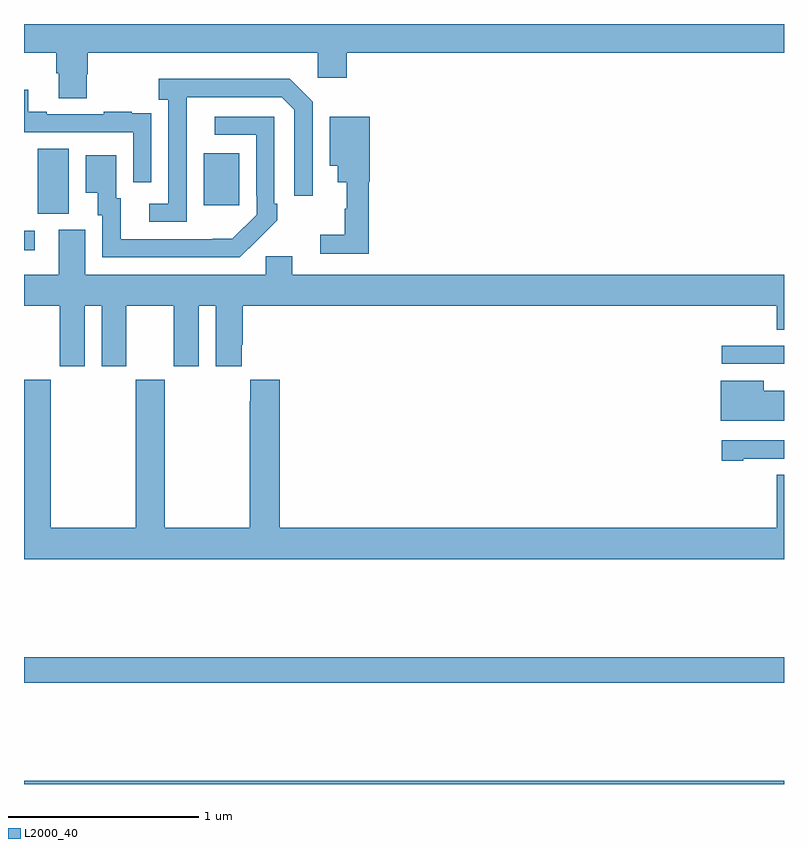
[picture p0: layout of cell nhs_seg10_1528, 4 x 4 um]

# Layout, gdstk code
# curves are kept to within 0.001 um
import gdstk
lib = gdstk.Library(unit=1e-6, precision=1e-09)
def R(c, l, rs):  # rectangles x0, y0, x1, y1
    for r in rs: c.add(gdstk.rectangle(r[:2], r[2:], *l))
def P(c, l, *ps):  # polygons
    for p in ps: c.add(gdstk.Polygon(p, *l))
L2000_40 = (2000, 40)

nhs_seg10_1528 = lib.new_cell('nhs_seg10_1528')
R(nhs_seg10_1528, L2000_40, [(191,1264.5,195,1264.516), (191,1265.032,195,1265.168), (194.673,1266.711,195,1266.807), (191,1267.308,191.056,1267.413), (191.072,1267.501,191.236,1267.844), (191.945,1267.545,192.133,1267.819)])
P(nhs_seg10_1528, L2000_40, [(191.331,1268.235),(191.336,1268.235),(191.336,1268.348),(192.546,1268.348),(192.546,1268.217),(192.698,1268.217),(192.698,1268.348),(195,1268.348),(195,1268.5),(191,1268.5),(191,1268.348),(191.171,1268.348),(191.171,1268.242),(191.183,1268.242),(191.183,1268.11),(191.331,1268.11)],
  [(191.856,1267.915),(191.857,1268.115),(192.357,1268.115),(192.423,1268.049),(192.423,1267.596),(192.519,1267.596),(192.519,1268.091),(192.398,1268.212),(191.709,1268.212),(191.709,1268.102),(191.76,1268.102),(191.76,1267.554),(191.658,1267.554),(191.658,1267.458),(191.856,1267.458)],
  [(191.67,1267.922),(191.669,1267.922),(191.669,1268.031),(191.567,1268.031),(191.567,1268.038),(191.419,1268.038),(191.419,1268.025),(191.119,1268.025),(191.119,1268.038),(191.023,1268.038),(191.023,1268.155),(191,1268.155),(191,1267.929),(191.574,1267.929),(191.574,1267.668),(191.67,1267.668)],
  [(192.227,1267.363),(192.228,1267.362),(192.333,1267.467),(192.333,1267.555),(192.318,1267.555),(192.318,1268.013),(192.003,1268.013),(192.003,1267.917),(192.222,1267.917),(192.222,1267.597),(192.225,1267.597),(192.225,1267.497),(192.097,1267.369),(191.509,1267.368),(191.509,1267.584),(191.485,1267.584),(191.485,1267.81),(191.324,1267.81),(191.324,1267.613),(191.387,1267.613),(191.387,1267.494),(191.412,1267.494),(191.412,1267.272),(192.136,1267.272)],
  [(192.815,1267.671),(192.821,1267.671),(192.821,1268.011),(192.608,1268.011),(192.608,1267.754),(192.65,1267.754),(192.65,1267.667),(192.698,1267.667),(192.698,1267.527),(192.687,1267.527),(192.687,1267.391),(192.558,1267.391),(192.558,1267.29),(192.815,1267.29)],
  [(191.32,1267.016),(191.408,1267.016),(191.408,1266.699),(191.539,1266.699),(191.539,1267.016),(191.789,1267.016),(191.789,1266.699),(191.92,1266.699),(191.92,1267.016),(192.008,1267.016),(192.008,1266.699),(192.145,1266.699),(192.145,1266.811),(192.152,1266.811),(192.152,1267.016),(194.963,1267.016),(194.963,1266.892),(195,1266.892),(195,1267.18),(192.412,1267.18),(192.412,1267.278),(192.273,1267.278),(192.273,1267.18),(191.323,1267.18),(191.323,1267.416),(191.183,1267.416),(191.183,1267.18),(191,1267.18),(191,1267.016),(191.189,1267.016),(191.189,1266.699),(191.32,1266.699)],
  [(195,1266.128),(194.963,1266.128),(194.963,1265.848),(192.347,1265.848),(192.347,1266.628),(192.191,1266.628),(192.191,1266.515),(192.187,1266.515),(192.187,1265.848),(191.742,1265.848),(191.742,1266.628),(191.587,1266.628),(191.587,1265.848),(191.142,1265.848),(191.142,1266.628),(191,1266.628),(191,1265.684),(195,1265.684)],
  [(195,1266.571),(194.893,1266.571),(194.893,1266.622),(194.666,1266.622),(194.666,1266.413),(195,1266.413)],
  [(194.785,1266.213),(195,1266.213),(195,1266.309),(194.673,1266.309),(194.673,1266.201),(194.785,1266.201)])

lib.write_gds('nhs_seg10_1528.gds')
